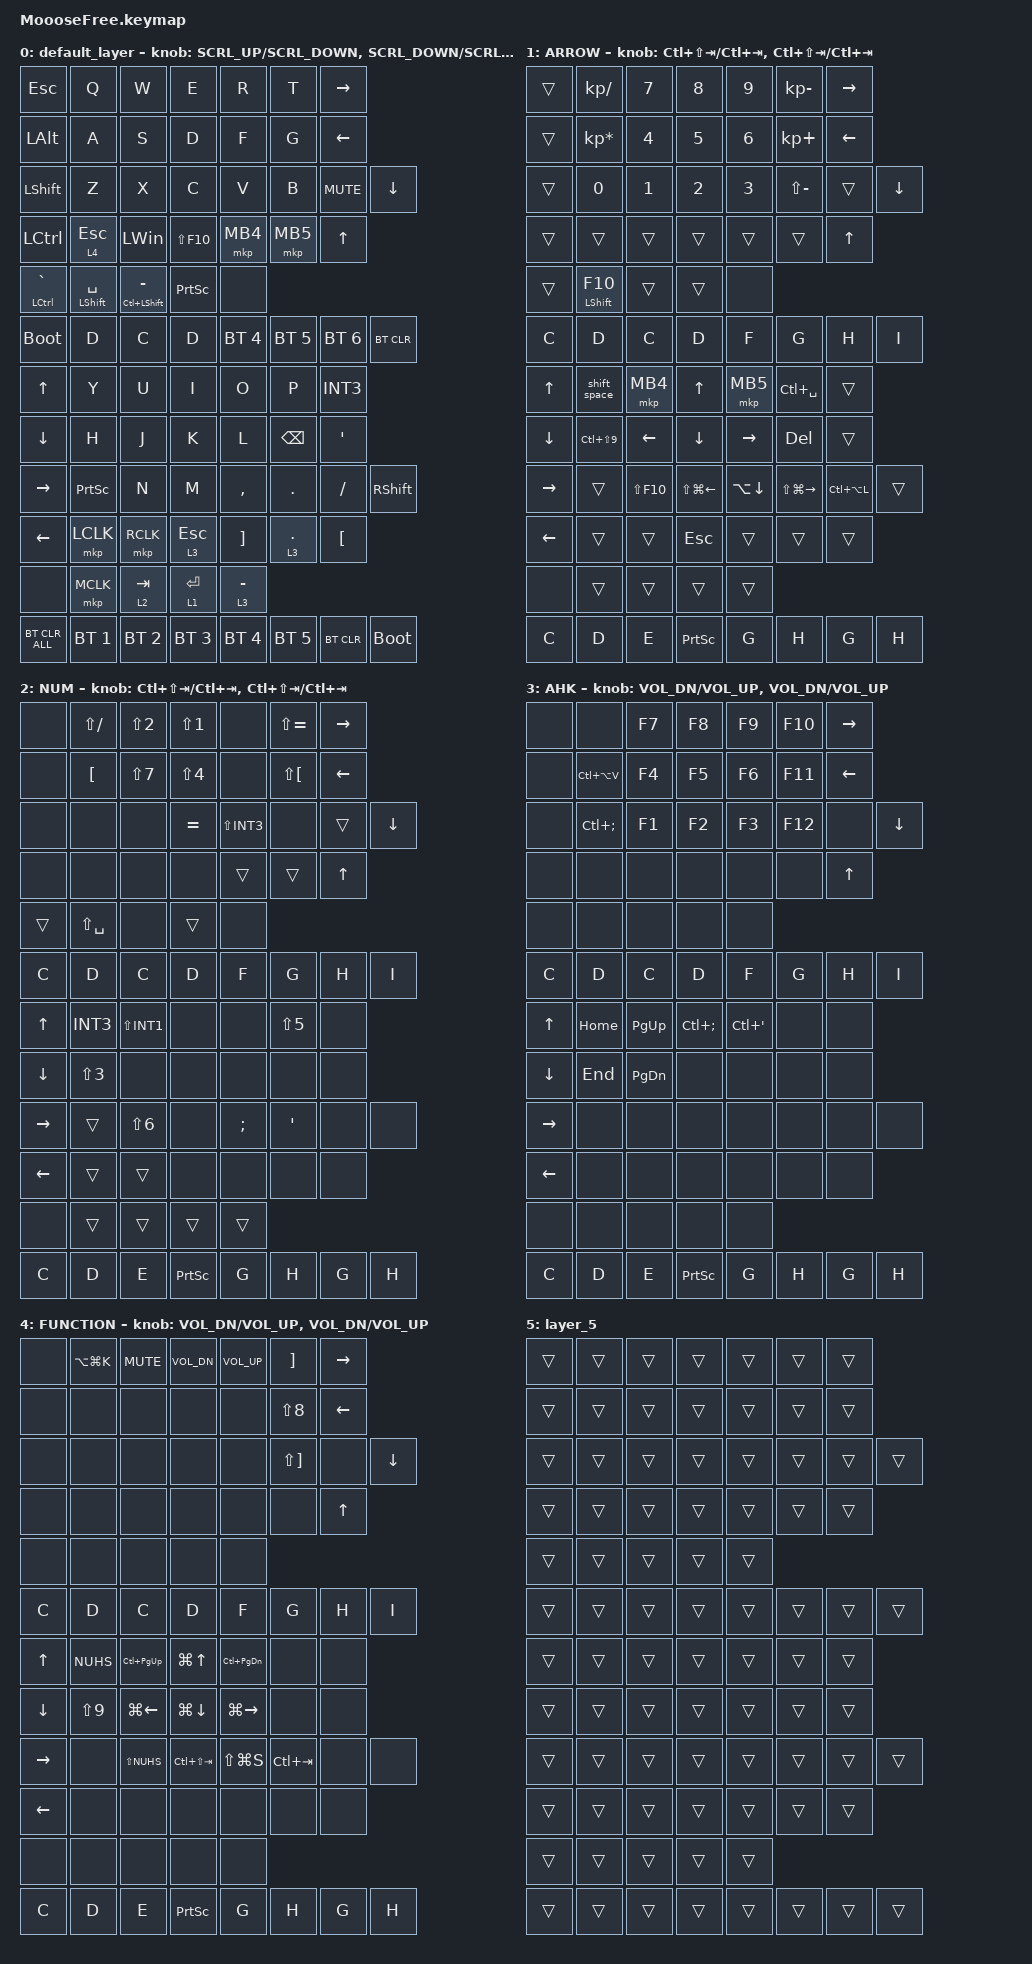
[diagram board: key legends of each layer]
#include <dt-bindings/zmk/mouse.h>
#include <behaviors/rgbled_widget.dtsi>
#include <zephyr/dt-bindings/input/input-event-codes.h>
#include <behaviors.dtsi>
#include <dt-bindings/zmk/bt.h>
#include <dt-bindings/zmk/keys.h>
#include <dt-bindings/zmk/pointing.h>

#define ZMK_POINTING_DEFAULT_SCRL_VAL 100

// Leyer

#define ARROW 1
#define NUM 2
#define AHK 3
#define FUNCTION 4

// Japanese key definitions (reference only)
// JP_MINUS  = MINUS        // -
// JP_CARET  = EQUAL        // ^
// JP_YEN    = INT3         // ¥
// JP_AT     = LBKT         // @
// JP_LBKT   = RBKT         // [
// JP_EISU   = CAPS         // Eisu (英数)
// JP_SEMI   = SEMI         // ;
// JP_COLON  = SQT          // :
// JP_RBKT   = NUHS         // ]
// JP_COMMA  = COMMA        // ,
// JP_DOT    = DOT          // .
// JP_SLASH  = SLASH        // /
// JP_BSLH   = INT1         // (backslash)
// JP_MHEN   = INT5         // Muhenkan (無変換)
// JP_HENK   = INT4         // Henkan (変換)
// JP_EXCL   = LS(N1)       // !
// JP_DQT    = LS(N2)       // "
// JP_HASH   = LS(N3)       // #
// JP_DLLR   = LS(N4)       // $
// JP_PRCNT  = LS(N5)       // %
// JP_AMPS   = LS(N6)       // &
// JP_SQT    = LS(N7)       // '
// JP_LPAR   = LS(N8)       // (
// JP_RPAR   = LS(N9)       // )
// JP_EQUAL  = LS(MINUS)    // =
// JP_TILDE  = LS(EQUAL)    // ~
// JP_PIPE   = LS(INT3)     // |
// JP_GRAVE  = LS(LBKT)     // `
// JP_LBRC   = LS(RBKT)     // {
// JP_CAPS   = LS(CAPS)     // Caps Lock
// JP_PLUS   = LS(SEMI)     // +
// JP_ASTRK  = LS(SQT)     // *
// JP_RBRC   = LS(NUHS)    // }
// JP_LT     = LS(COMMA)   // <
// JP_RT     = LS(DOT)     // >
// JP_QMARK  = LS(SLASH)   // ?
// JP_UNDER  = LS(INT1)    // _

&mt {
    flavor = "hold-preferred";
    tapping-term-ms = <220>;
    quick-tap-ms = <120>;
};

&lt {
    flavor = "hold-preferred";
    tapping-term-ms = <220>;
    quick-tap-ms = <120>;
};

/ {
    macros {
        to_layer_0: to_layer_0 {
            compatible = "zmk,behavior-macro-one-param";
            #binding-cells = <1>;
            bindings = <&to 0 &macro_param_1to1 &kp MACRO_PLACEHOLDER>;
            label = "TO_LAYER_0";
        };

        my_sp: my_sp {
            compatible = "zmk,behavior-macro";
            #binding-cells = <0>;
            bindings = <&kp INT5 &kp LS(N3)>;
        };

        my_dq: my_dq {
            #binding-cells = <0>;
            compatible = "zmk,behavior-macro";
            bindings = <&kp INT5 &kp LS(N2) &kp LS(N2)>;
        };

        my_sq: my_sq {
            #binding-cells = <0>;
            compatible = "zmk,behavior-macro";
            bindings = <&kp INT5 &kp LS(N7) &kp LS(N7)>;
        };

        my_kakko: my_kakko {
            compatible = "zmk,behavior-macro";
            #binding-cells = <0>;
            bindings = <&kp LS(N8) &kp LS(N9)>;
        };

        my_br: my_br {
            compatible = "zmk,behavior-macro";
            #binding-cells = <0>;
            bindings = <&kp INT5 &kp LS(COMMA) &kp B &kp R &kp LS(DOT)>;
        };

        shift_space: shift_space {
            compatible = "zmk,behavior-macro";
            #binding-cells = <0>;
            bindings = <&kp INTERNATIONAL_5 &kp LS(SPACE)>;
            label = "SHIFT_SPACE";
        };

        my_kagi: my_kagi {
            compatible = "zmk,behavior-macro";
            #binding-cells = <0>;
            bindings = <&kp RIGHT_BRACKET &kp NUHS>;
            label = "MY_KAGI";
        };
    };

    behaviors {
        lt_to_layer_0: lt_to_layer_0 {
            compatible = "zmk,behavior-hold-tap";
            label = "LAYER_TAP_TO_0";
            bindings = <&mo>, <&to_layer_0>;

            #binding-cells = <2>;
            flavor = "hold-preferred";
            tapping-term-ms = <220>;
            quick-tap-ms = <120>;
        };

        rot_kp: sensor_rotate_kp {
            compatible = "zmk,behavior-sensor-rotate-var";
            #sensor-binding-cells = <2>;
            bindings = <&kp>, <&kp>;

            tap-ms = <20>;
        };

        rot_mkp: sensor_rotate_mkp {
            compatible = "zmk,behavior-sensor-rotate-var";
            #sensor-binding-cells = <2>;
            bindings = <&mkp>, <&mkp>;

            tap-ms = <20>;
        };

        mouse_scroll: mouse_wheel_scrl {
            compatible = "zmk,behavior-sensor-rotate-var";
            #sensor-binding-cells = <2>;
            bindings = <&msc>, <&msc>;

            tap-ms = <20>;
        };

        mouse_scroll2: mouse_wheel_scrl2 {
            compatible = "zmk,behavior-sensor-rotate-var";
            #sensor-binding-cells = <2>;
            bindings = <&msc>, <&msc>;

            tap-ms = <16>;
        };
    };

    combos {
        compatible = "zmk,combos";

        PASTE_VALUE {
            bindings = <&kp LS(LC(V))>;
            key-positions = <17 18>;
            layers = <0>;
            timeout-ms = <80>;
        };

        KAKKO {
            bindings = <&my_kakko>;
            key-positions = <12 50>;
            timeout-ms = <80>;
            layers = <0>;
        };

        KAGIKAKKO {
            bindings = <&my_kagi>;
            key-positions = <5 43>;
            layers = <0>;
            timeout-ms = <80>;
        };
    };

    keymap {
        compatible = "zmk,keymap";

        default_layer {
            bindings = <
&kp ESCAPE       &kp Q             &kp W                 &kp E                 &kp R         &kp T         &kp RIGHT
&kp LALT         &kp A             &kp S                 &kp D                 &kp F         &kp G         &kp LEFT
&kp LSHIFT       &kp Z             &kp X                 &kp C                 &kp V         &kp B         &kp C_MUTE    &kp DOWN
&kp LCTRL        &lt 4 ESC         &kp LWIN              &kp LS(F10)           &mkp MB4      &mkp MB5      &kp UP
&mt LCTRL GRAVE  &mt LSHIFT SPACE  &mt LC(LSHIFT) MINUS  &kp PSCRN             &none
&bootloader      &kp D             &kp C                 &kp D                 &bt BT_SEL 4  &bt BT_SEL 5  &bt BT_SEL 6  &bt BT_CLR
&kp UP           &kp Y             &kp U                 &kp I                 &kp O         &kp P         &kp INT3
&kp DOWN         &kp H             &kp J                 &kp K                 &kp L         &kp BSPC      &kp SQT
&kp RIGHT        &kp PSCRN         &kp N                 &kp M                 &kp COMMA     &kp DOT       &kp SLASH     &kp RSHIFT
&kp LEFT         &mkp LCLK         &mkp RCLK             &lt_to_layer_0 3 ESC  &kp RBKT      &lt 3 DOT     &kp LBKT
&none            &mkp MCLK         &lt 2 TAB             &lt 1 ENTER           &lt 3 MINUS
&bt BT_CLR_ALL   &bt BT_SEL 1      &bt BT_SEL 2          &bt BT_SEL 3          &bt BT_SEL 4  &bt BT_SEL 5  &bt BT_CLR    &bootloader
            >;

            sensor-bindings = <&mouse_scroll2 SCRL_UP SCRL_DOWN &mouse_scroll SCRL_DOWN SCRL_UP>;
        };

        ARROW {
            bindings = <
&trans     &kp KP_SLASH     &kp N7       &kp N8            &kp N9        &kp KP_MINUS       &kp RIGHT
&trans     &kp KP_ASTERISK  &kp N4       &kp N5            &kp N6        &kp KP_PLUS        &kp LEFT
&trans     &kp N0           &kp N1       &kp N2            &kp N3        &kp LS(MINUS)      &trans         &kp DOWN
&trans     &trans           &trans       &trans            &trans        &trans             &kp UP
&trans     &mt LSHIFT F10   &trans       &trans            &none
&kp C      &kp D            &kp C        &kp D             &kp F         &kp G              &kp H          &kp I
&kp UP     &shift_space     &mkp MB4     &kp UP            &mkp MB5      &kp LC(SPACE)      &trans
&kp DOWN   &kp LC(LS(N9))   &kp LEFT     &kp DOWN          &kp RIGHT     &kp DEL            &trans
&kp RIGHT  &trans           &kp LS(F10)  &kp LS(LG(LEFT))  &kp LA(DOWN)  &kp LS(LG(RIGHT))  &kp LC(LA(L))  &trans
&kp LEFT   &trans           &trans       &kp ESC           &trans        &trans             &trans
&none      &trans           &trans       &trans            &trans
&kp C      &kp D            &kp E        &kp PSCRN         &kp G         &kp H              &kp G          &kp H
            >;

            sensor-bindings = <&inc_dec_kp LC(LS(TAB)) LC(TAB) &inc_dec_kp LC(LS(TAB)) LC(TAB)>;
        };

        NUM {
            bindings = <
&none      &kp LS(SLASH)  &kp LS(N2)    &kp LS(N1)  &none         &kp LS(EQUAL)  &kp RIGHT
&none      &kp LBKT       &kp LS(N7)    &kp LS(N4)  &none         &kp LS(LBKT)   &kp LEFT
&none      &none          &none         &kp EQUAL   &kp LS(INT3)  &none          &trans     &kp DOWN
&none      &none          &none         &none       &trans        &trans         &kp UP
&trans     &kp LS(SPACE)  &none         &trans      &none
&kp C      &kp D          &kp C         &kp D       &kp F         &kp G          &kp H      &kp I
&kp UP     &kp INT3       &kp LS(INT1)  &none       &none         &kp LS(N5)     &none
&kp DOWN   &kp LS(N3)     &none         &none       &none         &none          &none
&kp RIGHT  &trans         &kp LS(N6)    &none       &kp SEMI      &kp SQT        &none      &none
&kp LEFT   &trans         &trans        &none       &none         &none          &none
&none      &trans         &trans        &trans      &trans
&kp C      &kp D          &kp E         &kp PSCRN   &kp G         &kp H          &kp G      &kp H
            >;

            sensor-bindings = <&inc_dec_kp LC(LS(TAB)) LC(TAB) &inc_dec_kp LC(LS(TAB)) LC(TAB)>;
        };

        AHK {
            bindings = <
&none      &none          &kp F7     &kp F8        &kp F9       &kp F10  &kp RIGHT
&none      &kp LC(LA(V))  &kp F4     &kp F5        &kp F6       &kp F11  &kp LEFT
&none      &kp LC(SEMI)   &kp F1     &kp F2        &kp F3       &kp F12  &none      &kp DOWN
&none      &none          &none      &none         &none        &none    &kp UP
&none      &none          &none      &none         &none
&kp C      &kp D          &kp C      &kp D         &kp F        &kp G    &kp H      &kp I
&kp UP     &kp HOME       &kp PG_UP  &kp LC(SEMI)  &kp LC(SQT)  &none    &none
&kp DOWN   &kp END        &kp PG_DN  &none         &none        &none    &none
&kp RIGHT  &none          &none      &none         &none        &none    &none      &none
&kp LEFT   &none          &none      &none         &none        &none    &none
&none      &none          &none      &none         &none
&kp C      &kp D          &kp E      &kp PSCRN     &kp G        &kp H    &kp G      &kp H
            >;

            sensor-bindings = <&inc_dec_kp C_VOL_DN C_VOL_UP &inc_dec_kp C_VOL_DN C_VOL_UP>;
        };

        FUNCTION {
            bindings = <
&none      &kp LA(LG(K))  &kp C_MUTE     &kp C_VOL_DN     &kp C_VOL_UP   &kp RBKT      &kp RIGHT
&none      &none          &none          &none            &none          &kp LS(N8)    &kp LEFT
&none      &none          &none          &none            &none          &kp LS(RBKT)  &none      &kp DOWN
&none      &none          &none          &none            &none          &none         &kp UP
&none      &none          &none          &none            &none
&kp C      &kp D          &kp C          &kp D            &kp F          &kp G         &kp H      &kp I
&kp UP     &kp NUHS       &kp LC(PG_UP)  &kp LG(UP)       &kp LC(PG_DN)  &none         &none
&kp DOWN   &kp LS(N9)     &kp LG(LEFT)   &kp LG(DOWN)     &kp LG(RIGHT)  &none         &none
&kp RIGHT  &none          &kp LS(NUHS)   &kp LC(LS(TAB))  &kp LS(LG(S))  &kp LC(TAB)   &none      &none
&kp LEFT   &none          &none          &none            &none          &none         &none
&none      &none          &none          &none            &none
&kp C      &kp D          &kp E          &kp PSCRN        &kp G          &kp H         &kp G      &kp H
            >;

            sensor-bindings = <&inc_dec_kp C_VOL_DN C_VOL_UP &inc_dec_kp C_VOL_DN C_VOL_UP>;
        };

        layer_5 {
            bindings = <
&trans  &trans  &trans  &trans  &trans  &trans  &trans
&trans  &trans  &trans  &trans  &trans  &trans  &trans
&trans  &trans  &trans  &trans  &trans  &trans  &trans  &trans
&trans  &trans  &trans  &trans  &trans  &trans  &trans
&trans  &trans  &trans  &trans  &trans
&trans  &trans  &trans  &trans  &trans  &trans  &trans  &trans
&trans  &trans  &trans  &trans  &trans  &trans  &trans
&trans  &trans  &trans  &trans  &trans  &trans  &trans
&trans  &trans  &trans  &trans  &trans  &trans  &trans  &trans
&trans  &trans  &trans  &trans  &trans  &trans  &trans
&trans  &trans  &trans  &trans  &trans
&trans  &trans  &trans  &trans  &trans  &trans  &trans  &trans
            >;
        };
    };
};
